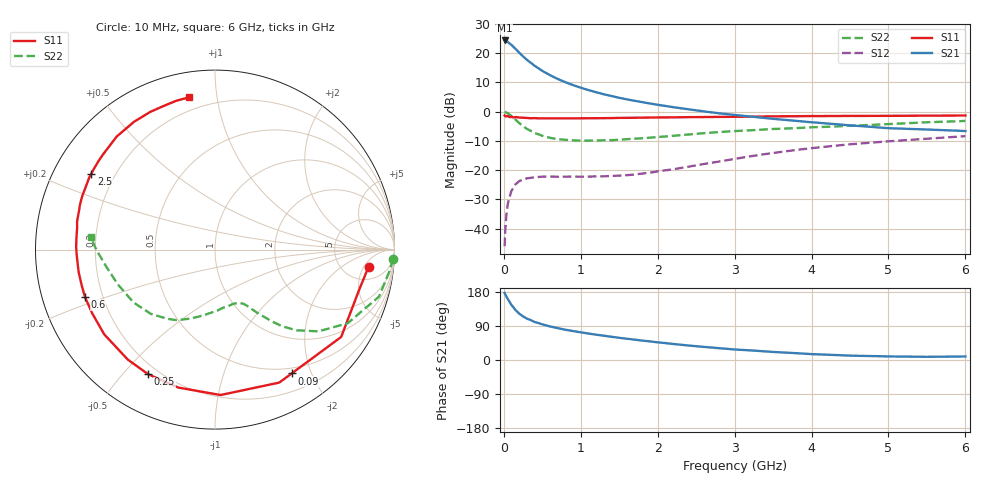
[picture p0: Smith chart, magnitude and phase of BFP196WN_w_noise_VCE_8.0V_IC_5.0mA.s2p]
! Infineon Technologies  Discrete & RF Semiconductors
! BFP196WN
! VCE =  8.0 V,  IC =  5.0 mA
! Common Emitter S-Parameters:  Jan 2017
# GHz  S  MA  R  50
!  f  S11  S21  S12  S22
! GHz  MAG  ANG  MAG  ANG  MAG  ANG  MAG  ANG
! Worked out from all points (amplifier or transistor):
!   77 points, 10 MHz to 6 GHz, reference 50 ohm
!   highest |S21| = 24.4 dB at 10 MHz (marker M1)
!   |S21| within 3 dB of that: start of sweep to 157 MHz
!   unconditionally stable (mu >= 1): 1.364 GHz to 2.567 GHz
!   at 130 MHz: K = 0.11, MSG = 23.9 dB, |S12| = -25.7 dB
!   at 2.2 GHz: K = 1.09, MAG = 8.8 dB, |S12| = -19.7 dB
!   at 6 GHz: K = 0.89, MSG = 0.9 dB, |S12| = -8.4 dB
!   lowest NFmin = 1.08 dB at 450 MHz
!   S11 on the Smith chart (normalised r, x): 10 MHz: 9, -6; 90 MHz: 0.43, -1.72; 250 MHz: 0.16, -0.59; 600 MHz: 0.13, -0.17; 2.5 GHz: 0.11, +0.28; 6 GHz: 0.13, +0.84
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0.01  0.861 -6.4  16.57 177.2  0.005 83.7  0.9926 -3.0
0.02  0.8342 -15.3  16.08 172.4  0.01 83.9  0.9821 -6.5
0.05  0.855 -34.7  15.76 161.1  0.0258 72.9  0.9506 -16.0
0.09  0.8115 -58.2  14.16 148.3  0.0405 60.5  0.8627 -26.2
0.1  0.8229 -64.2  13.88 144.7  0.0443 58.7  0.8455 -29.0
0.15  0.8108 -87.8  11.99 132.2  0.0569 47.6  0.7351 -38.3
0.2  0.7954 -104.9  10.26 122.4  0.0648 40.1  0.639 -44.7
0.25  0.7879 -118.2  8.844 115.0  0.0692 35.2  0.5677 -48.8
0.3  0.7821 -128.4  7.72 109.2  0.0724 30.9  0.5085 -51.7
0.4  0.7771 -142.6  6.105 100.3  0.0755 26.5  0.4335 -55.7
0.5  0.7707 -152.5  4.994 94.0  0.0774 24.7  0.3872 -58.4
0.6  0.7712 -160.0  4.22 88.6  0.078 23.9  0.3573 -60.6
0.7  0.7688 -165.6  3.636 84.1  0.0771 23.4  0.3393 -62.5
0.8  0.7699 -170.5  3.201 79.9  0.0774 24.7  0.3304 -64.9
1.1  0.7739 178.8  2.344 69.9  0.0777 28.6  0.3195 -72.6
1.5  0.7841 168.5  1.73 58.6  0.0807 38.4  0.3308 -84.3
2.1  0.7986 156.0  1.255 44.6  0.0992 53.5  0.3772 -101.7
2.5  0.8087 148.4  1.056 36.4  0.1209 59.8  0.4177 -112.2
3.1  0.8205 137.9  0.853 26.6  0.1638 62.7  0.4728 -126.3
4.1  0.8429 121.0  0.645 14.8  0.2455 57.7  0.546 -150.0
5.1  0.8509 108.5  0.517 9.2  0.3178 48.6  0.6226 -173.2
6  0.861 99.6  0.467 9.3  0.3812 40.4  0.6952 174.4
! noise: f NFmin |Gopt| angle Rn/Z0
0.45  1.08  0.44  121  0.07
0.9  1.21  0.58  158  0.06
1.9  2.72  0.75  203  0.15
2.4  3.62  0.76  211  0.29
